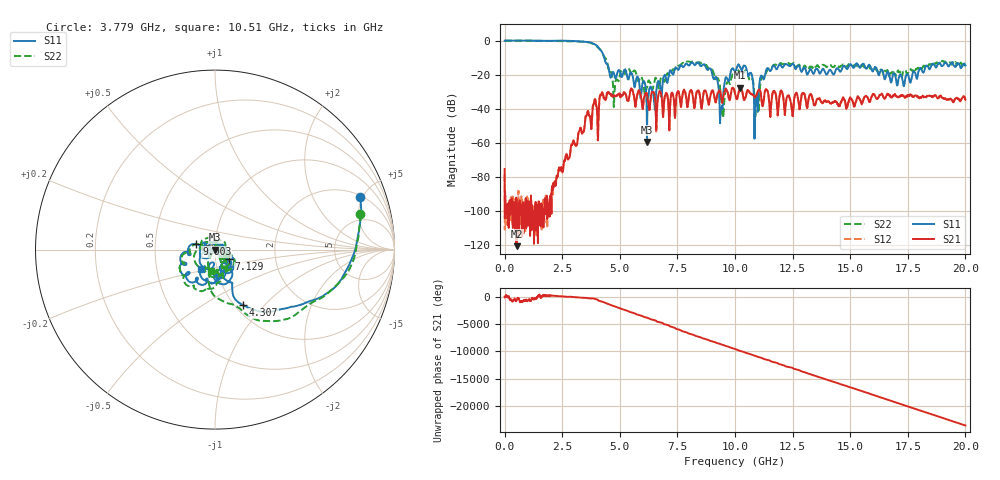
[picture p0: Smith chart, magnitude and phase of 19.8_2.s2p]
#  HZ  S  RI  R  50.00
! Rohde & Schwarz Vector Network Analyzer
! Rohde-Schwarz,ZNB20-2Port,1311601062102128,3.60
! Created: UTC 4/29/2024, 2:59:41 PM
! freq[Hz]  re:S11  im:S11  re:S21  im:S21  re:S12  im:S12  re:S22  im:S22
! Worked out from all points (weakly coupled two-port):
!   2007 points, 100 kHz to 20 GHz, reference 50 ohm
!   highest |S21| = -27.71 dB at 10.23 GHz (marker M1); lowest = -120.8 dB at 528.5 MHz (marker M2)
!   lowest |S11| = -59.6 dB at 6.182 GHz (marker M3), VSWR 1.00, Z = 50.1 + j0.00453 ohm
!   |S11| at or under -10 dB: 4.326 GHz to end of sweep
!   |S22| runs from -45.4 to 0.1 dB; largest |S21 - S12| = 0.0021
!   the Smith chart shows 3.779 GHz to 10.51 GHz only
!   S11 on the Smith chart (normalised r, x): 3.779 GHz: 2.08, +4.77; 4.307 GHz: 1.09, -0.76; 7.129 GHz: 1.16, -0.13; 9.003 GHz: 0.81, +0.05; 10.51 GHz: 0.83, -0.18
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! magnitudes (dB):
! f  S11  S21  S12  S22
! 100 kHz  0.0  -75.5  -78.8  0.1
! 528.5 MHz  0.0  -120.8  -98.5  0.0
! 2.223 GHz  -0.1  -85.2  -82.3  -0.3
! 3.34 GHz  -0.6  -53.9  -53.6  -0.6
! 3.779 GHz  -1.3  -49.7  -50.1  -1.6
! 4.307 GHz  -9.2  -33.8  -34.0  -9.2
! 4.776 GHz  -20.7  -32.4  -32.4  -28.8
! 5.364 GHz  -22.8  -35.4  -35.4  -16.3
! 6.182 GHz  -59.6  -31.9  -31.8  -27.5
! 6.67 GHz  -23.8  -32.3  -32.3  -27.2
! 7.129 GHz  -20.4  -43.0  -43.2  -20.3
! 9.003 GHz  -19.3  -29.5  -29.5  -17.0
! 9.382 GHz  -40.6  -31.6  -31.6  -31.6
! 9.472 GHz  -36.9  -35.3  -35.2  -42.6
! 10 GHz  -18.7  -31.1  -31.1  -19.2
! 10.23 GHz  -15.7  -27.7  -27.7  -16.8
! 10.51 GHz  -17.5  -30.3  -30.2  -18.4
! 10.92 GHz  -33.7  -32.5  -32.5  -34.5
! 11.42 GHz  -16.2  -29.8  -29.8  -16.8
! 13.34 GHz  -18.0  -32.7  -32.7  -15.3
! 16.67 GHz  -19.1  -31.7  -31.8  -20.5
! 20 GHz  -14.6  -34.8  -34.9  -14.4
